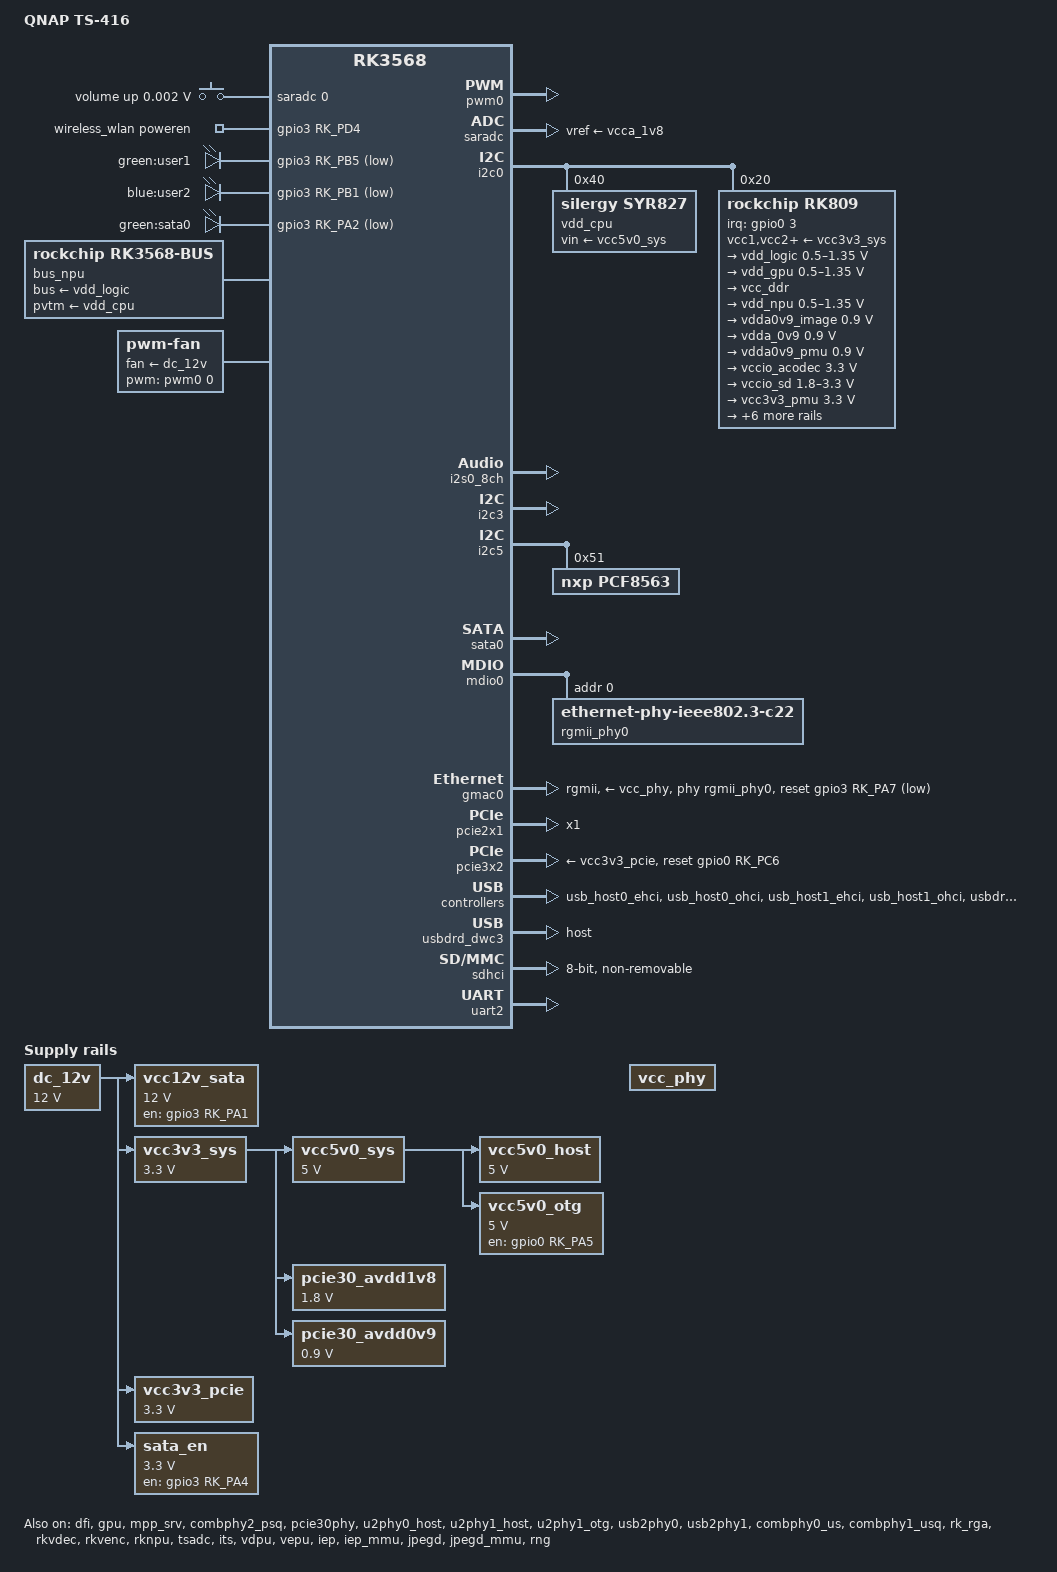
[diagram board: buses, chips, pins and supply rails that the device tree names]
// SPDX-License-Identifier: (GPL-2.0+ OR MIT)
/*
 * Copyright (c) 2020 Rockchip Electronics Co., Ltd.
 *
 */

/dts-v1/;

#include <dt-bindings/gpio/gpio.h>
#include <dt-bindings/pwm/pwm.h>
#include <dt-bindings/pinctrl/rockchip.h>
#include <dt-bindings/input/rk-input.h>
#include <dt-bindings/input/rk-ir.h>
#include <dt-bindings/display/drm_mipi_dsi.h>
#include <dt-bindings/display/rockchip_vop.h>
#include <dt-bindings/soc/rockchip-system-status.h>
#include <dt-bindings/sensor-dev.h>
#include <dt-bindings/phy/phy-snps-pcie3.h>
#include "rk3568.dtsi"

/ {
/*
    model = "Rockchip RK3568 DG NAS LITE";
	compatible = "rockchip,DG-nas-lite", "rockchip,rk3568";
*/
	model = "QNAP TS-416";
	compatible = "rockchip,rk3568-evb1-v10", "rockchip,rk3568";
	
	chosen: chosen {
		stdout-path = "serial2:115200n8";
	};

	adc_keys: adc-keys {
		compatible = "adc-keys";
		io-channels = <&saradc 0>;
		io-channel-names = "buttons";
		keyup-threshold-microvolt = <1800000>;
		poll-interval = <100>;

		vol-up-key {
			label = "volume up";
			linux,code = <KEY_VOLUMEUP>;
			press-threshold-microvolt = <1750>;
		};

	};

	cspmu: cspmu@fd90c000 {
		compatible = "rockchip,cspmu";
		reg = <0x0 0xfd90c000 0x0 0x1000>,
			<0x0 0xfd90d000 0x0 0x1000>,
			<0x0 0xfd90e000 0x0 0x1000>,
			<0x0 0xfd90f000 0x0 0x1000>;
	};

	reserved-memory {
		#address-cells = <2>;
		#size-cells = <2>;
		ranges;

		rknpu_reserved: rknpu {
			compatible = "shared-dma-pool";
			inactive;
			reusable;
			size = <0x0 0x20000000>;
			alignment = <0x0 0x1000>;
		};
	};


	dc_12v: dc-12v {
		compatible = "regulator-fixed";
		regulator-name = "dc_12v";
		regulator-always-on;
		regulator-boot-on;
		regulator-min-microvolt = <12000000>;
		regulator-max-microvolt = <12000000>;
	};

	vcc12v_sata: vcc12v-sata {
		compatible = "regulator-fixed";
		regulator-name = "vcc12v_sata";
		regulator-always-on;
		regulator-boot-on;
		regulator-min-microvolt = <12000000>;
		regulator-max-microvolt = <12000000>;
		enable-active-high;
		gpio = <&gpio3 RK_PA1 GPIO_ACTIVE_HIGH>;
		pinctrl-names = "default";
		pinctrl-0 = <&vcc12V_sata_enable_h>;
		vin-supply = <&dc_12v>;
	};	


	vcc3v3_sys: vcc3v3-sys {
		compatible = "regulator-fixed";
		regulator-name = "vcc3v3_sys";
		regulator-always-on;
		regulator-boot-on;
		regulator-min-microvolt = <3300000>;
		regulator-max-microvolt = <3300000>;
		vin-supply = <&dc_12v>;
	};

	vcc3v3_pcie: gpio-regulator {
		compatible = "regulator-fixed";
		regulator-name = "vcc3v3_pcie";
		regulator-min-microvolt = <3300000>;
		regulator-max-microvolt = <3300000>;
		enable-active-high;
		startup-delay-us = <5000>;
		vin-supply = <&dc_12v>;
	};

	
	sata_en: sata_en {
		compatible = "regulator-fixed";
		regulator-name = "sata_en";
		regulator-always-on;
		regulator-boot-on;
		regulator-min-microvolt = <3300000>;
		regulator-max-microvolt = <3300000>;
		enable-active-high;
		gpio = <&gpio3 RK_PA4 GPIO_ACTIVE_HIGH>;
		pinctrl-names = "default";
		pinctrl-0 = <&asm1064_rst>;
		vin-supply = <&dc_12v>;
	};

	vcc5v0_sys: vcc5v0-sys {
		compatible = "regulator-fixed";
		regulator-name = "vcc5v0_sys";
		regulator-always-on;
		regulator-boot-on;
		regulator-min-microvolt = <5000000>;
		regulator-max-microvolt = <5000000>;
		vin-supply = <&vcc3v3_sys>;
	};

	vcc5v0_host: vcc5v0-host-regulator {
		compatible = "regulator-fixed";
		regulator-name = "vcc5v0_host";
		regulator-boot-on;
		regulator-always-on;
		regulator-min-microvolt = <5000000>;
		regulator-max-microvolt = <5000000>;

		vin-supply = <&vcc5v0_sys>;

	};

	vcc5v0_otg: vcc5v0-otg-regulator {
		compatible = "regulator-fixed";
		regulator-name = "vcc5v0_otg";
		regulator-boot-on;
		regulator-always-on;
		regulator-min-microvolt = <5000000>;
		regulator-max-microvolt = <5000000>;
		enable-active-high;
		gpio = <&gpio0 RK_PA5 GPIO_ACTIVE_HIGH>;
		vin-supply = <&vcc5v0_sys>;
		pinctrl-names = "default";
		pinctrl-0 = <&vcc5v0_otg_en>;
	};

	vcc_phy: vcc-phy-regulator {
		compatible = "regulator-fixed";
		regulator-name = "vcc_phy";
		regulator-always-on;
		regulator-boot-on;
	};
	
	pcie30_avdd1v8: pcie30-avdd1v8 {
		compatible = "regulator-fixed";
		regulator-name = "pcie30_avdd1v8";
		regulator-always-on;
		regulator-boot-on;
		regulator-min-microvolt = <1800000>;
		regulator-max-microvolt = <1800000>;
		vin-supply = <&vcc3v3_sys>;
	};

	pcie30_avdd0v9: pcie30-avdd0v9 {
		compatible = "regulator-fixed";
		regulator-name = "pcie30_avdd0v9";
		regulator-always-on;
		regulator-boot-on;
		regulator-min-microvolt = <900000>;
		regulator-max-microvolt = <900000>;
		vin-supply = <&vcc3v3_sys>;
	};
	
    //wifi
    wireless_wlan: wireless-wlan {
        compatible = "wlan-platdata";    
        wifi_chip_type = "rtl8723du";
        rockchip,grf = <&grf>;
        WIFI,poweren_gpio = <&gpio3 RK_PD4 GPIO_ACTIVE_HIGH>;
        keep_wifi_power_on;
        status = "okay";
    };
	
	wireless_bluetooth: wireless-bluetooth {
		compatible = "bluetooth-platdata";
		clocks = <&rk809 1>;
		clock-names = "ext_clock";
		//wifi-bt-power-toggle;
		status = "okay";
	};	

	leds {
		compatible = "gpio-leds";
		pinctrl-names = "default";
		pinctrl-0 = <&led_user_1>, <&led_user_2>, <&led_sata_0>;

		led-user1 {
			label = "green:user1";
			gpios = <&gpio3 RK_PB5 GPIO_ACTIVE_LOW>;
			linux,default-trigger = "heartbeat";
		};

		led-user2 {
			label = "blue:user2";
			gpios = <&gpio3 RK_PB1 GPIO_ACTIVE_LOW>;
		};

		led-sata0 {
			label = "green:sata0";
			gpios = <&gpio3 RK_PA2 GPIO_ACTIVE_LOW>;
		};
	};

	pwm0: pwm@fdd70000 {
		compatible = "rockchip,rk3568-pwm", "rockchip,rk3328-pwm";
		reg = <0x0 0xfdd70000 0x0 0x10>;
		#pwm-cells = <3>;
		pinctrl-names = "active";
		pinctrl-0 = <&pwm0m0_pins>;
		clocks = <&pmucru CLK_PWM0>, <&pmucru PCLK_PWM0>;
		clock-names = "pwm", "pclk";
		status = "disabled";
	};

	pwm15: pwm@fe700030 {
		compatible = "rockchip,rk3568-pwm", "rockchip,rk3328-pwm";
		reg = <0x0 0xfe700030 0x0 0x10>;
		interrupts = <GIC_SPI 85 IRQ_TYPE_LEVEL_HIGH>,
			     <GIC_SPI 89 IRQ_TYPE_LEVEL_HIGH>;
		#pwm-cells = <3>;
		pinctrl-names = "active";
		pinctrl-0 = <&pwm15m0_pins>;
		clocks = <&cru CLK_PWM3>, <&cru PCLK_PWM3>;
		clock-names = "pwm", "pclk";
		status = "disabled";
	};

	bus_npu: bus-npu {
		compatible = "rockchip,rk3568-bus";
		rockchip,busfreq-policy = "clkfreq";
		clocks = <&scmi_clk 2>;
		clock-names = "bus";
		operating-points-v2 = <&bus_npu_opp_table>;
		status = "disabled";
	};

	bus_npu_opp_table: bus-npu-opp-table {
		compatible = "operating-points-v2";
		opp-shared;

		nvmem-cells = <&core_pvtm>;
		nvmem-cell-names = "pvtm";
		rockchip,pvtm-voltage-sel = <
			0        84000   0
			84001    91000   1
			91001    100000  2
		>;
		rockchip,pvtm-ch = <0 5>;

		opp-700000000 {
			opp-hz = /bits/ 64 <700000000>;
			opp-microvolt = <900000>;
			opp-microvolt-L0 = <900000>;
			opp-microvolt-L1 = <875000>;
			opp-microvolt-L2 = <875000>;
		};
		opp-900000000 {
			opp-hz = /bits/ 64 <900000000>;
			opp-microvolt = <900000>;
		};
		opp-1000000000 {
			opp-hz = /bits/ 64 <1000000000>;
			opp-microvolt = <950000>;
			opp-microvolt-L0 = <950000>;
			opp-microvolt-L1 = <925000>;
			opp-microvolt-L2 = <900000>;
		};
	};


	iep: iep@fdef0000 {
		compatible = "rockchip,iep-v2";
		reg = <0x0 0xfdef0000 0x0 0x500>;
		interrupts = <GIC_SPI 56 IRQ_TYPE_LEVEL_HIGH>;
		clocks = <&cru ACLK_IEP>, <&cru HCLK_IEP>, <&cru CLK_IEP_CORE>;
		clock-names = "aclk", "hclk", "sclk";
		resets = <&cru SRST_A_IEP>, <&cru SRST_H_IEP>,
			<&cru SRST_IEP_CORE>;
		reset-names = "rst_a", "rst_h", "rst_s";
		power-domains = <&power RK3568_PD_RGA>;
		rockchip,srv = <&mpp_srv>;
		rockchip,taskqueue-node = <5>;
		rockchip,resetgroup-node = <5>;
		iommus = <&iep_mmu>;
		status = "disabled";
	};

	iep_mmu: iommu@fdef0800 {
		compatible = "rockchip,iommu-v2";
		reg = <0x0 0xfdef0800 0x0 0x100>;
		interrupts = <GIC_SPI 56 IRQ_TYPE_LEVEL_HIGH>;
		interrupt-names = "iep_mmu";
		clocks = <&cru ACLK_IEP>, <&cru HCLK_IEP>;
		clock-names = "aclk", "iface";
		#iommu-cells = <0>;
		power-domains = <&power RK3568_PD_RGA>;
		//rockchip,disable-device-link-resume;
		status = "disabled";
	};

	jpegd: jpegd@fded0000 {
		compatible = "rockchip,rkv-jpeg-decoder-v1";
		reg = <0x0 0xfded0000 0x0 0x400>;
		interrupts = <GIC_SPI 62 IRQ_TYPE_LEVEL_HIGH>;
		clocks = <&cru ACLK_JDEC>, <&cru HCLK_JDEC>;
		clock-names = "aclk_vcodec", "hclk_vcodec";
		rockchip,disable-auto-freq;
		resets = <&cru SRST_A_JDEC>, <&cru SRST_H_JDEC>;
		reset-names = "video_a", "video_h";
		iommus = <&jpegd_mmu>;
		rockchip,srv = <&mpp_srv>;
		rockchip,taskqueue-node = <1>;
		rockchip,resetgroup-node = <1>;
		power-domains = <&power RK3568_PD_RGA>;
		status = "disabled";
	};

	jpegd_mmu: iommu@fded0480 {
		compatible = "rockchip,iommu-v2";
		reg = <0x0 0xfded0480 0x0 0x40>;
		interrupts = <GIC_SPI 61 IRQ_TYPE_LEVEL_HIGH>;
		interrupt-names = "jpegd_mmu";
		clock-names = "aclk", "iface";
		clocks = <&cru ACLK_JDEC>, <&cru HCLK_JDEC>;
		power-domains = <&power RK3568_PD_RGA>;
		#iommu-cells = <0>;
		status = "disabled";
	};

	saradc: saradc@fe720000 {
		compatible = "rockchip,rk3568-saradc", "rockchip,rk3399-saradc";
		reg = <0x0 0xfe720000 0x0 0x100>;
		interrupts = <GIC_SPI 93 IRQ_TYPE_LEVEL_HIGH>;
		#io-channel-cells = <1>;
		clocks = <&cru CLK_SARADC>, <&cru PCLK_SARADC>;
		clock-names = "saradc", "apb_pclk";
		resets = <&cru SRST_P_SARADC>;
		reset-names = "saradc-apb";
		status = "disabled";
	};

	rng: rng@fe388000 {
		compatible = "rockchip,cryptov2-rng";
		reg = <0x0 0xfe388000 0x0 0x2000>;
		clocks = <&cru CLK_TRNG_NS>, <&cru HCLK_TRNG_NS>;
		clock-names = "clk_trng", "hclk_trng";
		resets = <&cru SRST_TRNG_NS>;
		reset-names = "reset";
		status = "disabled";
	};

	rockchip_system_monitor: rockchip-system-monitor {
		compatible = "rockchip,system-monitor";

		rockchip,thermal-zone = "soc-thermal";
	};

	
	fan: pwm-fan {
		compatible = "pwm-fan";
		#cooling-cells = <2>;
		cooling-levels = <0 50 100 195 255>;
		pwms = <&pwm0 0 40000 0>;
		fan-supply = <&dc_12v>;	
	};
	
};

&thermal_zones {
	/delete-node/ cpu-thermal;
	soc_thermal: soc-thermal {
		polling-delay-passive = <20>; /* milliseconds */
		polling-delay = <1000>; /* milliseconds */
		sustainable-power = <905>; /* milliwatts */

		thermal-sensors = <&tsadc 0>;
		trips {
			threshold: trip-point-0 {
				temperature = <75000>;
				hysteresis = <2000>;
				type = "passive";
			};
			target: trip-point-1 {
				temperature = <85000>;
				hysteresis = <2000>;
				type = "passive";
			};
			soc_crit: soc-crit {
				/* millicelsius */
				temperature = <115000>;
				/* millicelsius */
				hysteresis = <2000>;
				type = "critical";
			};
		};
		cooling-maps {
			map0 {
				trip = <&target>;
				cooling-device = <&cpu0 THERMAL_NO_LIMIT THERMAL_NO_LIMIT>;
				contribution = <1024>;
			};
			map1 {
				trip = <&target>;
				cooling-device = <&gpu THERMAL_NO_LIMIT THERMAL_NO_LIMIT>;
				contribution = <1024>;
			};
		};
	};
};

&pmucru {
	rockchip,grf = <&grf>;
	rockchip,pmugrf = <&pmugrf>;
	assigned-clocks = <&pmucru SCLK_32K_IOE>;
	assigned-clock-parents = <&pmucru CLK_RTC_32K>;
};

&cru {
	rockchip,grf = <&grf>;
	assigned-clocks =
		<&pmucru CLK_RTC_32K>, <&cru ACLK_RKVDEC_PRE>,
		<&cru CLK_RKVDEC_CORE>, <&pmucru PLL_PPLL>,
		<&pmucru PCLK_PMU>, <&cru PLL_CPLL>,
		<&cru CPLL_500M>, <&cru CPLL_333M>,
		<&cru CPLL_250M>, <&cru CPLL_125M>,
		<&cru CPLL_100M>, <&cru CPLL_62P5M>,
		<&cru CPLL_50M>, <&cru CPLL_25M>,
		<&cru PLL_GPLL>,
		<&cru ACLK_BUS>, <&cru PCLK_BUS>,
		<&cru ACLK_TOP_HIGH>, <&cru ACLK_TOP_LOW>,
		<&cru HCLK_TOP>, <&cru PCLK_TOP>,
		<&cru ACLK_PERIMID>, <&cru HCLK_PERIMID>,
		<&cru PLL_NPLL>, <&cru ACLK_PIPE>,
		<&cru PCLK_PIPE>, <&cru CLK_I2S0_8CH_TX_SRC>,
		<&cru CLK_I2S0_8CH_RX_SRC>, <&cru CLK_I2S1_8CH_TX_SRC>,
		<&cru CLK_I2S1_8CH_RX_SRC>, <&cru CLK_I2S2_2CH_SRC>,
		<&cru CLK_I2S2_2CH_SRC>, <&cru CLK_I2S3_2CH_RX_SRC>,
		<&cru CLK_I2S3_2CH_TX_SRC>, <&cru MCLK_SPDIF_8CH_SRC>,
		<&cru ACLK_VOP>;
	assigned-clock-rates =
		<32768>, <300000000>,
		<300000000>, <200000000>,
		<100000000>, <1000000000>,
		<500000000>, <333000000>,
		<250000000>, <125000000>,
		<100000000>, <62500000>,
		<50000000>, <25000000>,
		<1188000000>,
		<150000000>, <100000000>,
		<500000000>, <400000000>,
		<150000000>, <100000000>,
		<300000000>, <150000000>,
		<1200000000>, <400000000>,
		<100000000>, <1188000000>,
		<1188000000>, <1188000000>,
		<1188000000>, <1188000000>,
		<1188000000>, <1188000000>,
		<1188000000>, <1188000000>,
		<500000000>;
	assigned-clock-parents =
			<&pmucru CLK_RTC32K_FRAC>, <&cru PLL_GPLL>,
			<&cru PLL_GPLL>;
};

&bus_npu {
	bus-supply = <&vdd_logic>;
	pvtm-supply = <&vdd_cpu>;
	status = "okay";
};

&cpu0 {
	cpu-supply = <&vdd_cpu>;
};

&dfi {
	status = "okay";
};
/*
&dmc {
	center-supply = <&vdd_logic>;
	status = "okay";

	system-status-level = <
		SYS_STATUS_NORMAL      DMC_FREQ_LEVEL_MID_HIGH 
	>;
	
	auto-freq-en = <0>;

};
*/
&gpu {
	//clock-names = "gpu", "bus";
	//interrupt-names = "gpu", "mmu", "job";
	mali-supply = <&vdd_gpu>;
	status = "okay";
};


&pwm0 {
	pinctrl-0 = <&pwm0m1_pins>;
	//4.19内核需要配置为default
	pinctrl-names = "active";
	status = "okay";
};

&i2c0 {
	status = "okay";


	vdd_cpu: syr827@40 {
		compatible = "silergy,syr827";
		reg = <0x40>;
		vin-supply = <&vcc5v0_sys>;
		regulator-compatible = "fan53555-reg";
		pinctrl-names = "default";
		//pinctrl-0 = <&vsel1_gpios>;
		//vsel-gpios = <&gpio0 RK_PA2 GPIO_ACTIVE_HIGH>;
		regulator-name = "vdd_cpu";
		regulator-min-microvolt = <712500>;
		regulator-max-microvolt = <1390000>;
		regulator-init-microvolt = <900000>;
		regulator-ramp-delay = <2300>;
		fcs,suspend-voltage-selector = <1>;
		regulator-always-on;
		regulator-boot-on;
		regulator-initial-state = <3>;
			regulator-state-mem {
			regulator-off-in-suspend;
		};
	};


	rk809: pmic@20 {
		compatible = "rockchip,rk809";
		reg = <0x20>;
		interrupt-parent = <&gpio0>;
		interrupts = <3 IRQ_TYPE_LEVEL_LOW>;

		pinctrl-names = "default", "pmic-sleep",
				"pmic-power-off", "pmic-reset";
		pinctrl-0 = <&pmic_int>;
		pinctrl-1 = <&soc_slppin_slp>, <&rk817_slppin_slp>;
		pinctrl-2 = <&soc_slppin_gpio>, <&rk817_slppin_pwrdn>;
		pinctrl-3 = <&soc_slppin_gpio>, <&rk817_slppin_rst>;

		rockchip,system-power-controller;
		wakeup-source;
		#clock-cells = <1>;
		clock-output-names = "rk808-clkout1", "rk808-clkout2";
		//fb-inner-reg-idxs = <2>;
		/* 1: rst regs (default in codes), 0: rst the pmic */
		pmic-reset-func = <0>;
		/* not save the PMIC_POWER_EN register in uboot */
		not-save-power-en = <1>;

		vcc1-supply = <&vcc3v3_sys>;
		vcc2-supply = <&vcc3v3_sys>;
		vcc3-supply = <&vcc3v3_sys>;
		vcc4-supply = <&vcc3v3_sys>;
		vcc5-supply = <&vcc3v3_sys>;
		vcc6-supply = <&vcc3v3_sys>;
		vcc7-supply = <&vcc3v3_sys>;
		vcc8-supply = <&vcc3v3_sys>;
		vcc9-supply = <&vcc3v3_sys>;

		pwrkey {
			status = "okay";
		};

		pinctrl_rk8xx: pinctrl_rk8xx {
			gpio-controller;
			#gpio-cells = <2>;

			rk817_slppin_null: rk817_slppin_null {
				pins = "gpio_slp";
				function = "pin_fun0";
			};

			rk817_slppin_slp: rk817_slppin_slp {
				pins = "gpio_slp";
				function = "pin_fun1";
			};

			rk817_slppin_pwrdn: rk817_slppin_pwrdn {
				pins = "gpio_slp";
				function = "pin_fun2";
			};

			rk817_slppin_rst: rk817_slppin_rst {
				pins = "gpio_slp";
				function = "pin_fun3";
			};
		};

		regulators {
			vdd_logic: DCDC_REG1 {
				regulator-always-on;
				regulator-boot-on;
				regulator-min-microvolt = <500000>;
				regulator-max-microvolt = <1350000>;
				regulator-init-microvolt = <900000>;
				regulator-ramp-delay = <6001>;
				regulator-initial-mode = <0x2>;
				regulator-name = "vdd_logic";
				regulator-state-mem {
					regulator-off-in-suspend;
				};
			};

			vdd_gpu: DCDC_REG2 {
				regulator-always-on;
				regulator-boot-on;
				regulator-min-microvolt = <500000>;
				regulator-max-microvolt = <1350000>;
				regulator-init-microvolt = <900000>;
				regulator-ramp-delay = <6001>;
				regulator-initial-mode = <0x2>;
				regulator-name = "vdd_gpu";
				regulator-state-mem {
					regulator-off-in-suspend;
				};
			};

			vcc_ddr: DCDC_REG3 {
				regulator-always-on;
				regulator-boot-on;
				regulator-initial-mode = <0x2>;
				regulator-name = "vcc_ddr";
				regulator-state-mem {
					regulator-on-in-suspend;
				};
			};

			vdd_npu: DCDC_REG4 {
				regulator-always-on;
				regulator-boot-on;
				regulator-min-microvolt = <500000>;
				regulator-max-microvolt = <1350000>;
				regulator-init-microvolt = <900000>;
				regulator-ramp-delay = <6001>;
				regulator-initial-mode = <0x2>;
				regulator-name = "vdd_npu";
				regulator-state-mem {
					regulator-off-in-suspend;
				};
			};

			vdda0v9_image: LDO_REG1 {
				regulator-boot-on;
				regulator-always-on;
				regulator-min-microvolt = <900000>;
				regulator-max-microvolt = <900000>;
				regulator-name = "vdda0v9_image";
				regulator-state-mem {
					regulator-off-in-suspend;
				};
			};

			vdda_0v9: LDO_REG2 {
				regulator-always-on;
				regulator-boot-on;
				regulator-min-microvolt = <900000>;
				regulator-max-microvolt = <900000>;
				regulator-name = "vdda_0v9";
				regulator-state-mem {
					regulator-off-in-suspend;
				};
			};

			vdda0v9_pmu: LDO_REG3 {
				regulator-always-on;
				regulator-boot-on;
				regulator-min-microvolt = <900000>;
				regulator-max-microvolt = <900000>;
				regulator-name = "vdda0v9_pmu";
				regulator-state-mem {
					regulator-on-in-suspend;
					regulator-suspend-microvolt = <900000>;
				};
			};

			vccio_acodec: LDO_REG4 {
				regulator-always-on;
				regulator-boot-on;
				regulator-min-microvolt = <3300000>;
				regulator-max-microvolt = <3300000>;
				regulator-name = "vccio_acodec";
				regulator-state-mem {
					regulator-off-in-suspend;
				};
			};

			vccio_sd: LDO_REG5 {
				regulator-always-on;
				regulator-boot-on;
				regulator-min-microvolt = <1800000>;
				regulator-max-microvolt = <3300000>;
				regulator-name = "vccio_sd";
				regulator-state-mem {
					regulator-off-in-suspend;
				};
			};

			vcc3v3_pmu: LDO_REG6 {
				regulator-always-on;
				regulator-boot-on;
				regulator-min-microvolt = <3300000>;
				regulator-max-microvolt = <3300000>;
				regulator-name = "vcc3v3_pmu";
				regulator-state-mem {
					regulator-on-in-suspend;
					regulator-suspend-microvolt = <3300000>;
				};
			};

			vcca_1v8: LDO_REG7 {
				regulator-always-on;
				regulator-boot-on;
				regulator-min-microvolt = <1800000>;
				regulator-max-microvolt = <1800000>;
				regulator-name = "vcca_1v8";
				regulator-state-mem {
					regulator-off-in-suspend;
				};
			};

			vcca1v8_pmu: LDO_REG8 {
				regulator-always-on;
				regulator-boot-on;
				regulator-min-microvolt = <1800000>;
				regulator-max-microvolt = <1800000>;
				regulator-name = "vcca1v8_pmu";
				regulator-state-mem {
					regulator-on-in-suspend;
					regulator-suspend-microvolt = <1800000>;
				};
			};

			vcca1v8_image: LDO_REG9 {
				regulator-always-on;
				regulator-boot-on;
				regulator-min-microvolt = <1800000>;
				regulator-max-microvolt = <1800000>;
				regulator-name = "vcca1v8_image";
				regulator-state-mem {
					regulator-off-in-suspend;
				};
			};

			vcc_1v8: DCDC_REG5 {
				regulator-always-on;
				regulator-boot-on;
				regulator-min-microvolt = <1800000>;
				regulator-max-microvolt = <1800000>;
				regulator-name = "vcc_1v8";
				regulator-state-mem {
					regulator-off-in-suspend;
				};
			};

			vcc_3v3: SWITCH_REG1 {
				regulator-always-on;
				regulator-boot-on;
				regulator-name = "vcc_3v3";
				regulator-state-mem {
					regulator-off-in-suspend;
				};
			};

			vcc3v3_sd: SWITCH_REG2 {
				regulator-always-on;
				regulator-boot-on;
				regulator-name = "vcc3v3_sd";
				regulator-state-mem {
					regulator-off-in-suspend;
				};
			};
		};
	};
};

&i2s0_8ch {
	status = "okay";
};

&i2c2 {
	status = "disabled";
};

&i2c3 {
	status = "okay";
};

&i2c4 {
	status = "disabled";
};

&i2c5 {
	status = "okay";

	pcf8563: rtc@51 {
		status = "okay";
		compatible = "nxp,pcf8563";
		reg = <0x51>;
		#clock-cells = <0>;
	};
	
};

&iep {
	status = "okay";
};

&iep_mmu {
	status = "okay";
};

&jpegd {
	status = "okay";
};

&jpegd_mmu {
	status = "okay";
};

&mpp_srv {
	status = "okay";
};

&sata0 {
	status = "okay";
};

&sata1 {
    status = "disabled";
};

/* PCIE */
&combphy2_psq {
	status = "okay";
};

&mdio0 {
	rgmii_phy0: phy@0 {
		compatible = "ethernet-phy-ieee802.3-c22";
		eee-broken-1000t;
		reg = <0x0>;
	};
};

&gmac0 {
	phy-mode = "rgmii";
	//clock_in_out = "input";
	clock_in_out = "output";
	
	snps,reset-gpio = <&gpio3 RK_PA7 GPIO_ACTIVE_LOW>;
	snps,reset-active-low;
	/* Reset time is 20ms, 100ms for rtl8211f */
	snps,reset-delays-us = <0 20000 100000>;

	assigned-clocks = <&cru SCLK_GMAC0_RX_TX>, <&cru SCLK_GMAC0>;
	assigned-clock-parents = <&cru SCLK_GMAC0_RGMII_SPEED>, <&cru CLK_MAC0_2TOP>;
	assigned-clock-rates = <0>, <125000000>;

	pinctrl-names = "default";
	pinctrl-0 = <&gmac0_miim
		     &gmac0_tx_bus2
		     &gmac0_rx_bus2
		     &gmac0_rgmii_clk
		     &gmac0_rgmii_bus>;

	tx_delay = <0x3c>;
	rx_delay = <0x2f>;

	phy-handle = <&rgmii_phy0>;
	phy-supply = <&vcc_phy>;
	status = "okay";	
};
	
&pcie2x1 {
	num-lanes = <1>;
	num-viewport = <4>;
	//reset-gpios = <&gpio0 RK_PB6 GPIO_ACTIVE_HIGH>;
	linux,pci-aspm-no-l0s;
	status = "okay";
};

&pcie30phy {
	status = "okay";
};

&pcie3x2 {
	reset-gpios = <&gpio0 RK_PC6 GPIO_ACTIVE_HIGH>;
	vpcie3v3-supply = <&vcc3v3_pcie>;
	//vpcie1v8-supply = <&pcie30_avdd1v8>;  // 绑定1.8V电源
	//startup-delay-us = <100000>;  // 建议保持100ms延迟
	linux,pci-aspm-no-l0s;
	linux,pci-aspm-no-l1;
	status = "okay";
};


/* 对应lede usb2phy0_host */
&u2phy0_host {
	phy-supply = <&vcc5v0_host>;
	status = "okay";
};

/* 对应lede usb2phy0_otg */
&u2phy0_otg {
	status = "disabled";
};

/* lede usb2phy1_host */
&u2phy1_host {
	phy-supply = <&vcc5v0_host>;
	status = "okay";
};

/* lede usb2phy1_otg */
&u2phy1_otg {
	phy-supply = <&vcc5v0_host>;
	status = "okay";
};

&usb2phy0 {
	status = "okay";
};

&usb2phy1 {
	status = "okay";
};

&usb_host0_ehci {
	status = "okay";
};

&usb_host0_ohci {
	status = "okay";
};

&usb_host1_ehci {
	status = "okay";
};

&usb_host1_ohci {
	status = "okay";
};

/*USB3.0 controller 对应lede usb_host0_xhci */
&usbdrd_dwc3 {
	dr_mode = "host";
	extcon = <&usb2phy0>;
	status = "okay";
};

&usbdrd30 {
	status = "okay";
};

&usbhost_dwc3 {
	status = "okay";
};

&usbhost30 {
	status = "okay";
};

/*USB3.0 OTG PHY*/
&combphy0_us {
	status = "okay";
};

/*USB 3.0 HOST 与 SATA1 复用 对应lede usb_host1_xhci */

&usbhost_dwc3 { 
    status = "okay"; 
};

/* 对应lede combphy1 */
&combphy1_usq { 
//    rockchip,dis-u3otg1-port; 
    status = "okay"; 
};

&pinctrl {
	pmic {
		pmic_int: pmic_int {
			rockchip,pins =
				<0 RK_PA3 RK_FUNC_GPIO &pcfg_pull_up>;
		};

		soc_slppin_gpio: soc_slppin_gpio {
			rockchip,pins =
				<0 RK_PA2 RK_FUNC_GPIO &pcfg_output_low_pull_down>;
		};

		soc_slppin_slp: soc_slppin_slp {
			rockchip,pins =
				<0 RK_PA2 1 &pcfg_pull_up>;
		};

		soc_slppin_rst: soc_slppin_rst {
			rockchip,pins =
				<0 RK_PA2 2 &pcfg_pull_none>;
		};
	};
	
	usb {
		vcc5v0_otg_en: vcc5v0-otg-en {
			rockchip,pins = <0 RK_PA5 RK_FUNC_GPIO &pcfg_pull_none>;
		};
	};

	sata {
		vcc12V_sata_enable_h: vcc12V_sata_enable_h {
			rockchip,pins = <3 RK_PA1 RK_FUNC_GPIO &pcfg_pull_none>;
		};
		asm1064_rst: asm1064_rst {
			rockchip,pins = <3 RK_PA4 RK_FUNC_GPIO &pcfg_pull_none>;
		};
	};		
	
	leds {
		led_user_1: led_user_1 {
			rockchip,pins = <3 RK_PB5 RK_FUNC_GPIO &pcfg_pull_none>;
		};

		led_user_2: led_user_2 {
			rockchip,pins = <3 RK_PB1 RK_FUNC_GPIO &pcfg_pull_none>;
		};

		led_sata_0: led_sata_0 {
			rockchip,pins = <3 RK_PA2 RK_FUNC_GPIO &pcfg_pull_none>;
		};
	};

	spi1 {
		/omit-if-no-ref/
		spi1m1_mosi: spi1m1-mosi {
			rockchip,pins =
				<3 RK_PC1 3 &pcfg_pull_none>;
		};	

	};

	fan-fg {
		fg_pin: fg-pin {
			rockchip,pins = <0 RK_PC4 RK_FUNC_GPIO &pcfg_pull_up>;
		};
	};


};

&pmu_io_domains {
	pmuio1-supply = <&vcc3v3_pmu>;
	pmuio2-supply = <&vcc3v3_pmu>;
	vccio1-supply = <&vccio_acodec>;
	vccio2-supply = <&vcc_1v8>;
	vccio3-supply = <&vccio_sd>;
	vccio4-supply = <&vcc_1v8>;
	vccio5-supply = <&vcc_3v3>;
	vccio6-supply = <&vcc_1v8>;
	vccio7-supply = <&vcc_3v3>;
	status = "okay";	
};

&rk_rga {
	status = "okay";
};

&rkvdec {
	status = "okay";
};

&rkvdec_mmu {
	status = "okay";
};

&rkvenc {
	venc-supply = <&vdd_logic>;
	status = "okay";
};

&rkvenc_mmu {
	status = "okay";
};

&rknpu {
	memory-region = <&rknpu_reserved>;
	rknpu-supply = <&vdd_npu>;
	status = "okay";
};

&rknpu_mmu {
	status = "okay";
};

&saradc {
	status = "okay";
	vref-supply = <&vcca_1v8>;
};

&sdhci {
	bus-width = <8>;
	supports-emmc;
	non-removable;
	max-frequency = <200000000>;
	status = "okay";
};
/*
&sdmmc0 {
	max-frequency = <150000000>;
	supports-sd;
	bus-width = <4>;
	cap-mmc-highspeed;
	cap-sd-highspeed;
	disable-wp;
	sd-uhs-sdr104;
	vmmc-supply = <&vcc3v3_sd>;
	vqmmc-supply = <&vccio_sd>;
	pinctrl-names = "default";
	pinctrl-0 = <&sdmmc0_bus4 &sdmmc0_clk &sdmmc0_cmd &sdmmc0_det>;
	status = "okay";
};

*/
&cpu0_opp_table {
    /delete-node/ opp-408000000;
    /delete-node/ opp-600000000;
    /delete-node/ opp-816000000;
    /delete-node/ opp-1104000000;
    /delete-node/ opp-1416000000;
    /delete-node/ opp-1608000000;
    /delete-node/ opp-1800000000;
//    /delete-node/ opp-1992000000;

};


&tsadc {
	status = "okay";
};

&uart2 {
	status = "okay";
};


&its {
	status = "okay";
};

&rng {
	status = "okay";
};

&vdpu {
	status = "okay";
};

&vdpu_mmu {
	status = "okay";
};

&vepu {
	status = "okay";
};

&vepu_mmu {
	status = "okay";
};
